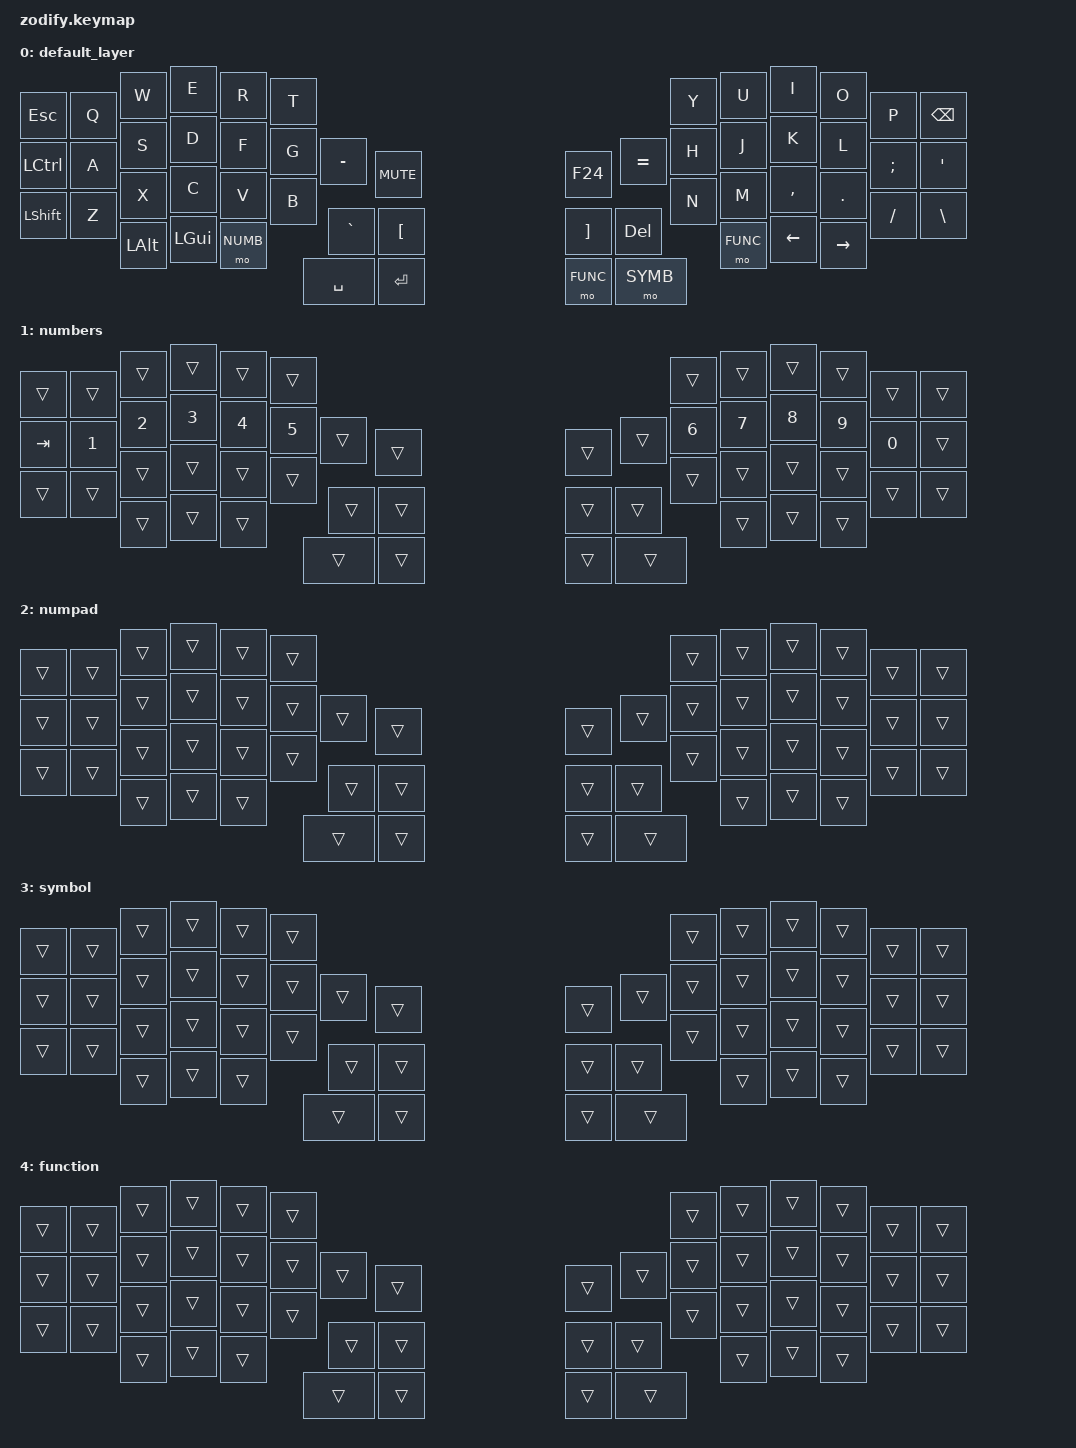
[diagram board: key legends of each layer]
#include <behaviors.dtsi>
#include <dt-bindings/zmk/keys.h>
#include <dt-bindings/zmk/bt.h>
#include <dt-bindings/zmk/outputs.h>

#define NUMB 1
#define NUMP 2
#define SYMB 3
#define FUNC 4

/ {
  keymap {
    compatible = "zmk,keymap";

    default_layer {
      bindings = <
   &kp ESC   &kp Q &kp W &kp E &kp R &kp T                                        &kp Y &kp U  &kp I     &kp O   &kp P    &kp BSPC
   &kp LCTRL &kp A &kp S &kp D &kp F &kp G &kp MINUS &kp C_MUTE &kp F24 &kp EQUAL &kp H &kp J  &kp K     &kp L   &kp SEMI &kp SQT
   &kp LSHFT &kp Z &kp X &kp C &kp V &kp B &kp GRAVE &kp LBKT  &kp RBKT &kp DEL  &kp N &kp M  &kp COMMA &kp DOT &kp FSLH &kp BSLH
                 &kp LALT &kp LGUI &mo NUMB &kp SPACE &kp RET  &mo FUNC &mo SYMB &mo FUNC &kp LEFT &kp RIGHT
      >;
    };

    numbers {
      bindings = <
    &trans &trans &trans &trans &trans &trans                              &trans &trans &trans &trans &trans &trans
    &kp TAB &kp N1 &kp N2 &kp N3 &kp N4 &kp N5 &trans &trans  &trans &trans &kp N6 &kp N7 &kp N8 &kp N9 &kp N0 &trans
    &trans &trans &trans &trans &trans &trans &trans &trans  &trans &trans &trans &trans &trans &trans &trans &trans
                         &trans &trans &trans &trans &trans  &trans &trans &trans &trans &trans 
      >;
    };
    numpad {
      bindings = <
    &trans &trans &trans &trans &trans &trans                              &trans &trans &trans &trans &trans &trans
    &trans &trans &trans &trans &trans &trans &trans &trans  &trans &trans &trans &trans &trans &trans &trans &trans
    &trans &trans &trans &trans &trans &trans &trans &trans  &trans &trans &trans &trans &trans &trans &trans &trans
                         &trans &trans &trans &trans &trans  &trans &trans &trans &trans &trans 
      >;
    };

    symbol {
      bindings = <
    &trans &trans &trans &trans &trans &trans                              &trans &trans &trans &trans &trans &trans
    &trans &trans &trans &trans &trans &trans &trans &trans  &trans &trans &trans &trans &trans &trans &trans &trans
    &trans &trans &trans &trans &trans &trans &trans &trans  &trans &trans &trans &trans &trans &trans &trans &trans
                         &trans &trans &trans &trans &trans  &trans &trans &trans &trans &trans 
      >;
    };

    function {
      bindings = <
    &trans &trans &trans &trans &trans &trans                              &trans &trans &trans &trans &trans &trans
    &trans &trans &trans &trans &trans &trans &trans &trans  &trans &trans &trans &trans &trans &trans &trans &trans
    &trans &trans &trans &trans &trans &trans &trans &trans  &trans &trans &trans &trans &trans &trans &trans &trans
                         &trans &trans &trans &trans &trans  &trans &trans &trans &trans &trans 
      >;
    };
  };
};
